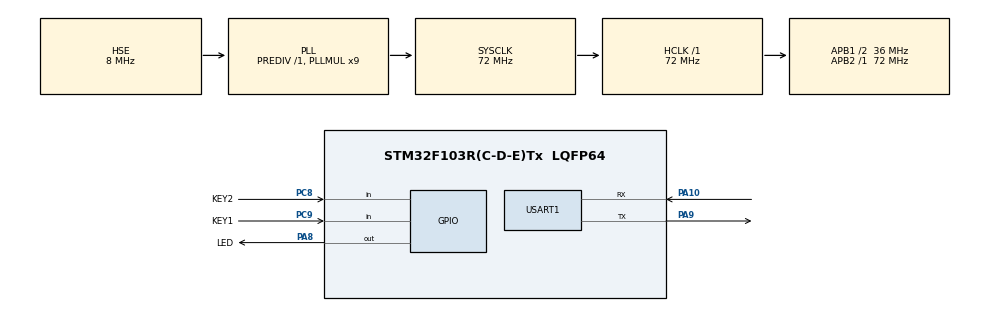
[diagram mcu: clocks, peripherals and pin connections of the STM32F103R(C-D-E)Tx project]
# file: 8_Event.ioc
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FREERTOS.Tasks01=defaultTask,24,128,StartDefaultTask,Default,NULL,Dynamic,NULL,NULL
FREERTOS.configRECORD_STACK_HIGH_ADDRESS=0
FREERTOS.configUSE_APPLICATION_TASK_TAG=1
FREERTOS.configUSE_COUNTING_SEMAPHORES=1
FREERTOS.configUSE_RECURSIVE_MUTEXES=1
FREERTOS.configUSE_TICKLESS_IDLE=0
Mcu.Family=STM32F1
Mcu.Name=STM32F103R(C-D-E)Tx
Mcu.Package=LQFP64
NVIC.PriorityGroup=NVIC_PRIORITYGROUP_4
NVIC.TIM8_UP_IRQn=true\:15\:0\:false\:false\:true\:false\:false\:true\:true
NVIC.TimeBase=TIM8_UP_IRQn
NVIC.TimeBaseIP=TIM8
PA10.Mode=Asynchronous
PA10.Signal=USART1_RX
PA13.Mode=Serial_Wire
PA13.Signal=SYS_JTMS-SWDIO
PA14.Mode=Serial_Wire
PA14.Signal=SYS_JTCK-SWCLK
PA8.GPIO_Label=LED
PA8.Signal=GPIO_Output
PA9.Mode=Asynchronous
PA9.Signal=USART1_TX
PC8.GPIO_Label=KEY2
PC8.GPIO_PuPd=GPIO_PULLUP
PC8.Signal=GPIO_Input
PC9.GPIO_Label=KEY1
PC9.GPIO_PuPd=GPIO_PULLUP
PC9.Signal=GPIO_Input
PD0-OSC_IN.Mode=HSE-External-Oscillator
PD0-OSC_IN.Signal=RCC_OSC_IN
PD1-OSC_OUT.Mode=HSE-External-Oscillator
PD1-OSC_OUT.Signal=RCC_OSC_OUT
ProjectManager.HeapSize=0x200
ProjectManager.StackSize=0x400
ProjectManager.TargetToolchain=Makefile
RCC.AHBFreq_Value=72000000
RCC.APB1CLKDivider=RCC_HCLK_DIV2
RCC.APB1Freq_Value=36000000
RCC.APB1TimFreq_Value=72000000
RCC.APB2Freq_Value=72000000
RCC.APB2TimFreq_Value=72000000
RCC.HCLKFreq_Value=72000000
RCC.PLLMUL=RCC_PLL_MUL9
RCC.PLLSourceVirtual=RCC_PLLSOURCE_HSE
RCC.SYSCLKFreq_VALUE=72000000
RCC.SYSCLKSource=RCC_SYSCLKSOURCE_PLLCLK
RCC.USBFreq_Value=72000000
USART1.VirtualMode=VM_ASYNC
VP_FREERTOS_VS_CMSIS_V2.Mode=CMSIS_V2
VP_SYS_VS_tim8.Mode=TIM8
board=custom

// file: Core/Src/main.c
/* USER CODE BEGIN Header */
/**
  ******************************************************************************
  * @file           : main.c
  * @brief          : Main program body
  ******************************************************************************
  * @attention
  *
  * Copyright (c) 2023 STMicroelectronics.
  * All rights reserved.
  *
  * This software is licensed under terms that can be found in the LICENSE file
  * in the root directory of this software component.
  * If no LICENSE file comes with this software, it is provided AS-IS.
  *
  ******************************************************************************
  */
/* USER CODE END Header */
#include "main.h"
#include "cmsis_os.h"
#include "usart.h"
#include "gpio.h"

/* USER CODE BEGIN Includes */
#include <stdio.h>
/* USER CODE END Includes */

void SystemClock_Config(void);
void MX_FREERTOS_Init(void);

int main(void)
{

  /* MCU Configuration--------------------------------------------------------*/

  /* Reset of all peripherals, Initializes the Flash interface and the Systick. */
  HAL_Init();

  /* Configure the system clock */
  SystemClock_Config();

  /* Initialize all configured peripherals */
  MX_GPIO_Init();
  MX_USART1_UART_Init();

  /* Init scheduler */
  osKernelInitialize();  /* Call init function for freertos objects (in freertos.c) */
  MX_FREERTOS_Init();

  /* Start scheduler */
  osKernelStart();

  /* We should never get here as control is now taken by the scheduler */
  /* Infinite loop */
  while (1)
  {

  }
}

void SystemClock_Config(void)
{
  RCC_OscInitTypeDef RCC_OscInitStruct = {0};
  RCC_ClkInitTypeDef RCC_ClkInitStruct = {0};

  /** Initializes the RCC Oscillators according to the specified parameters
  * in the RCC_OscInitTypeDef structure.
  */
  RCC_OscInitStruct.OscillatorType = RCC_OSCILLATORTYPE_HSE;
  RCC_OscInitStruct.HSEState = RCC_HSE_ON;
  RCC_OscInitStruct.HSEPredivValue = RCC_HSE_PREDIV_DIV1;
  RCC_OscInitStruct.HSIState = RCC_HSI_ON;
  RCC_OscInitStruct.PLL.PLLState = RCC_PLL_ON;
  RCC_OscInitStruct.PLL.PLLSource = RCC_PLLSOURCE_HSE;
  RCC_OscInitStruct.PLL.PLLMUL = RCC_PLL_MUL9;
  if (HAL_RCC_OscConfig(&RCC_OscInitStruct) != HAL_OK)
  {
    Error_Handler();
  }

  /** Initializes the CPU, AHB and APB buses clocks
  */
  RCC_ClkInitStruct.ClockType = RCC_CLOCKTYPE_HCLK|RCC_CLOCKTYPE_SYSCLK
                              |RCC_CLOCKTYPE_PCLK1|RCC_CLOCKTYPE_PCLK2;
  RCC_ClkInitStruct.SYSCLKSource = RCC_SYSCLKSOURCE_PLLCLK;
  RCC_ClkInitStruct.AHBCLKDivider = RCC_SYSCLK_DIV1;
  RCC_ClkInitStruct.APB1CLKDivider = RCC_HCLK_DIV2;
  RCC_ClkInitStruct.APB2CLKDivider = RCC_HCLK_DIV1;

  if (HAL_RCC_ClockConfig(&RCC_ClkInitStruct, FLASH_LATENCY_2) != HAL_OK)
  {
    Error_Handler();
  }
}

void HAL_TIM_PeriodElapsedCallback(TIM_HandleTypeDef *htim)
{
  if (htim->Instance == TIM8) {
    HAL_IncTick();
  }
}

void Error_Handler(void)
{
  __disable_irq();
  while (1)
  {
  }
}

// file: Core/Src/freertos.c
/* USER CODE BEGIN Header */
/**
 ******************************************************************************
 * File Name          : freertos.c
 * Description        : Code for freertos applications
 ******************************************************************************
 * @attention
 *
 * Copyright (c) 2023 STMicroelectronics.
 * All rights reserved.
 *
 * This software is licensed under terms that can be found in the LICENSE file
 * in the root directory of this software component.
 * If no LICENSE file comes with this software, it is provided AS-IS.
 *
 ******************************************************************************
 */
/* USER CODE END Header */

#include "FreeRTOS.h"
#include "task.h"
#include "main.h"
#include "cmsis_os.h"

/* USER CODE BEGIN Includes */
#include <stdio.h>
/* USER CODE END Includes */

/* USER CODE BEGIN PD */
#define KEY1_EVENT (0x01 << 0)
#define KEY2_EVENT (0x01 << 1)
/* USER CODE END PD */

/* USER CODE BEGIN Variables */
/* 事件标志组定�? */
osEventFlagsId_t event;
const osEventFlagsAttr_t event_attributes = {
    .name = "event",
};
/* 线程定义 */
osThreadId_t Key_Task_Handle;
const osThreadAttr_t KeyTask_attributes = {
    .name       = "KeyTask",
    .stack_size = 128 * 4,
    .priority   = (osPriority_t)osPriorityNormal,
};
osThreadId_t Read_Task_Handle;
const osThreadAttr_t ReadTask_attributes = {
    .name       = "ReadTask",
    .stack_size = 128 * 4,
    .priority   = (osPriority_t)osPriorityNormal,
};
/* USER CODE END Variables */
/* Definitions for defaultTask */
osThreadId_t defaultTaskHandle;
const osThreadAttr_t defaultTask_attributes = {
    .name       = "defaultTask",
    .stack_size = 128 * 4,
    .priority   = (osPriority_t)osPriorityNormal,
};

/* USER CODE BEGIN FunctionPrototypes */
void Read_Task(void *argument);
void Key_Task(void *argument);
/* USER CODE END FunctionPrototypes */

void StartDefaultTask(void *argument);

void MX_FREERTOS_Init(void); /* (MISRA C 2004 rule 8.1) */

void MX_FREERTOS_Init(void)
{

    /* Create the thread(s) */
    /* creation of defaultTask */
    defaultTaskHandle = osThreadNew(StartDefaultTask, NULL, &defaultTask_attributes);

    /* USER CODE BEGIN RTOS_THREADS */
    /* add threads, ... */
    Key_Task_Handle  = osThreadNew(Key_Task, NULL, &KeyTask_attributes);
    Read_Task_Handle = osThreadNew(Read_Task, NULL, &ReadTask_attributes);
    /* USER CODE END RTOS_THREADS */

    /* USER CODE BEGIN RTOS_EVENTS */
    /* add events, ... */
    event = osEventFlagsNew(&event_attributes);
    /* USER CODE END RTOS_EVENTS */
}

void StartDefaultTask(void *argument)
{
    for (;;) {
        osDelay(1);
    }
}

/* USER CODE BEGIN Application */
void Key_Task(void *argument)
{
    for (;;) {
        if (HAL_GPIO_ReadPin(GPIOC, GPIO_PIN_8) == 0) {
            HAL_GPIO_TogglePin(GPIOA, GPIO_PIN_8);
            printf("Key1 Down!\r\n");
            osEventFlagsSet(event, KEY1_EVENT);
        }
        if (HAL_GPIO_ReadPin(GPIOC, GPIO_PIN_9) == 0) {
            HAL_GPIO_TogglePin(GPIOA, GPIO_PIN_8);
            printf("Key2 Down!\r\n");
            osEventFlagsSet(event, KEY2_EVENT);
        }
        osDelay(100);
    }
}

void Read_Task(void *argument)
{
    uint32_t rx_event;
    for (;;) {
        rx_event = osEventFlagsWait(event, KEY1_EVENT | KEY2_EVENT, osFlagsWaitAll, osWaitForever);
        if ((rx_event & (KEY1_EVENT | KEY2_EVENT)) == (KEY1_EVENT | KEY2_EVENT)) {
            printf("Key1 and Key2 pressed!\r\n");
        } else {
            printf("error!\r\n");
        }
    }
}
/* USER CODE END Application */
